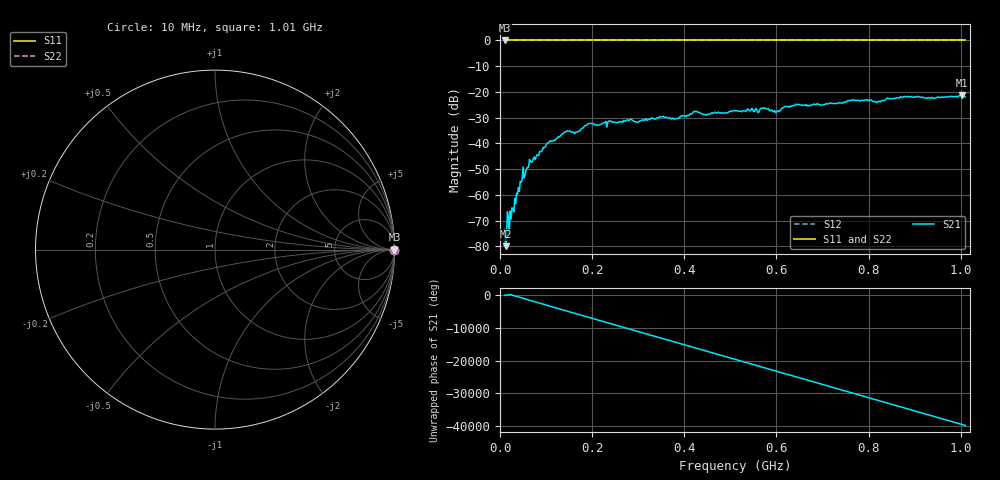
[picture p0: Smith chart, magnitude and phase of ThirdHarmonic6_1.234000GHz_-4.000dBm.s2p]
! 8/16/2025 1:03:00 PM
! C:\ANRITSUVNA\TEMP\TEMP.S2P
! CHANNEL.1
! TR.MEASUREMENT
! RAW.DATA
! RF.CORRECTION.OFF
! AVERAGING.OFF
! IF.BANDWIDTH: 5KHZ
! SWEEPTYPE:  FREQ.SWEEP(Linear)
! Reference Plane Port Info
! PORT:  PORT1  PORT2
! DISTANCE:  0  m  0  m
! TIME:  0  s  0  s
! PHASE.OFFSET:  0  deg.  0  deg.
! LOSS:  0  dB  0  dB
! REF.LOSS:  0  dB  0  dB
! REF.FREQ:  0  Hz  0  Hz
! Power Info
! POWER:  -20  dBm  -20  dBm
! EFF.POWER:  -20  dBm  -20  dBm
! SOURCE.ATTEN:  0  dB  0  dB
! TEST.ATTEN:  0  dB  0  dB
# GHZ S RI R 50.0
! FREQ.GHZ  S11RE  S11IM  S21RE  S21IM  S12RE  S12IM  S22RE  S22IM
!; PortSelection: Port_12
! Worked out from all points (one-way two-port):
!   501 points, 10 MHz to 1.01 GHz, reference 50 ohm
!   highest |S21| = -21.29 dB at 1.002 GHz (marker M1); lowest = -79.9 dB at 12 MHz (marker M2)
!   lowest |S11| = 0.0 dB at 10 MHz (marker M3)
!   |S11| at or under -10 dB: nowhere
!   |S22| runs from 0.0 to 0.0 dB; largest |S21 - S12| = 1.1
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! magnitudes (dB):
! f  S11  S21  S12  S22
! 10 MHz  0.0  -73.4  0.0  0.0
! 12 MHz  0.0  -79.9  0.0  0.0
! 16 MHz  0.0  -66.6  0.0  0.0
! 20 MHz  0.0  -75.5  0.0  0.0
! 24 MHz  0.0  -69.4  0.0  0.0
! 48 MHz  0.0  -54.2  0.0  0.0
! 68 MHz  0.0  -47.4  0.0  0.0
! 106 MHz  0.0  -39.7  0.0  0.0
! 142 MHz  0.0  -35.6  0.0  0.0
! 178 MHz  0.0  -34.1  0.0  0.0
! 194 MHz  0.0  -32.3  0.0  0.0
! 344 MHz  0.0  -30.2  0.0  0.0
! 382 MHz  0.0  -30.3  0.0  0.0
! 424 MHz  0.0  -27.6  0.0  0.0
! 510 MHz  0.0  -27.3  0.0  0.0
! 570 MHz  0.0  -26.3  0.0  0.0
! 602 MHz  0.0  -27.4  0.0  0.0
! 622 MHz  0.0  -25.8  0.0  0.0
! 678 MHz  0.0  -25.0  0.0  0.0
! 844 MHz  0.0  -22.6  0.0  0.0
! 1.002 GHz  0.0  -21.3  0.0  0.0
! 1.01 GHz  0.0  -21.9  0.0  0.0
